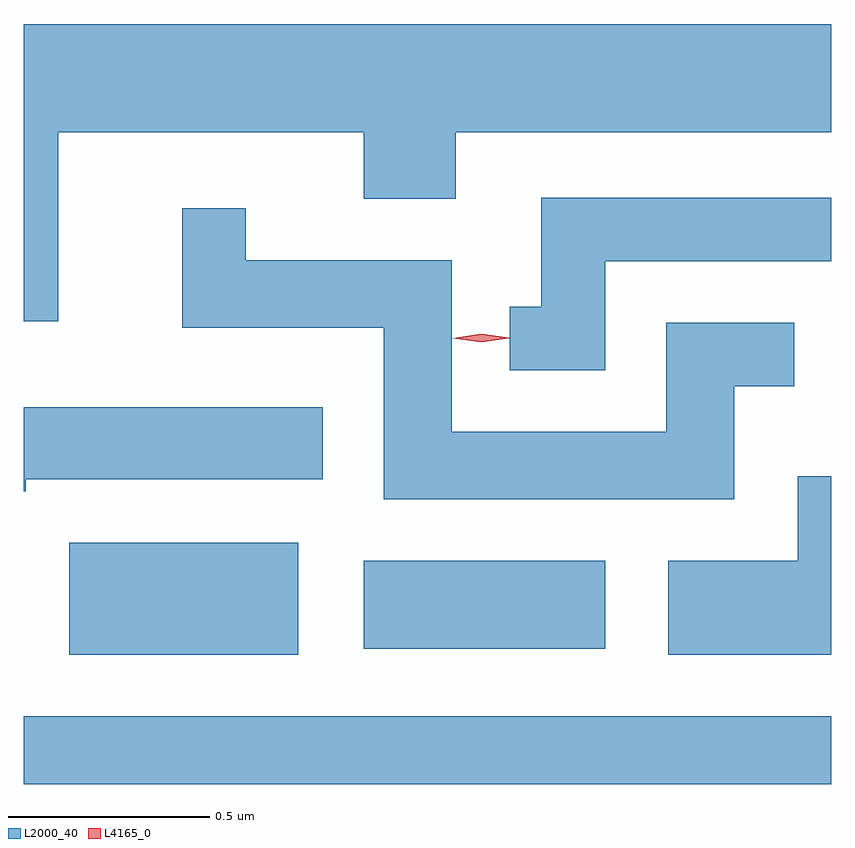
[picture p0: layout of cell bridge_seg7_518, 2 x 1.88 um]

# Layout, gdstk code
import gdstk
lib = gdstk.Library(unit=1e-6, precision=1e-09)
def R(c, l, rs):  # rectangles x0, y0, x1, y1
    for r in rs: c.add(gdstk.rectangle(r[:2], r[2:], *l))
def P(c, l, *ps):  # polygons
    for p in ps: c.add(gdstk.Polygon(p, *l))
L2000_40 = (2000, 40)
L4165_0 = (4165, 0)

bridge_seg7_518 = lib.new_cell('bridge_seg7_518')
R(bridge_seg7_518, L2000_40, [(1339.579,1712.701,1341.579,1712.869), (1339.691,1713.021,1340.259,1713.299), (1340.421,1713.036,1341.019,1713.254)])
P(bridge_seg7_518, L2000_40, [(1339.664,1714.316),(1340.421,1714.316),(1340.421,1714.151),(1340.649,1714.151),(1340.649,1714.316),(1341.579,1714.316),(1341.579,1714.584),(1339.579,1714.584),(1339.579,1713.848),(1339.664,1713.848)],
  [(1341.019,1713.996),(1341.579,1713.996),(1341.579,1714.154),(1340.861,1714.154),(1340.861,1713.884),(1340.783,1713.884),(1340.783,1713.726),(1341.019,1713.726)],
  [(1341.339,1713.686),(1341.488,1713.686),(1341.488,1713.844),(1341.171,1713.844),(1341.171,1713.574),(1340.639,1713.574),(1340.639,1713.999),(1340.129,1713.999),(1340.129,1714.128),(1339.971,1714.128),(1339.971,1713.831),(1340.471,1713.831),(1340.471,1713.406),(1341.339,1713.406)],
  [(1339.584,1713.456),(1340.319,1713.456),(1340.319,1713.634),(1339.579,1713.634),(1339.579,1713.426),(1339.584,1713.426)],
  [(1341.579,1713.464),(1341.496,1713.464),(1341.496,1713.254),(1341.176,1713.254),(1341.176,1713.021),(1341.579,1713.021)])
P(bridge_seg7_518, L4165_0, [(1340.712,1713.796),(1340.642,1713.805),(1340.642,1713.806),(1340.642,1713.806),(1340.712,1713.816),(1340.781,1713.807),(1340.781,1713.807),(1340.781,1713.806)])

lib.write_gds('bridge_seg7_518.gds')
